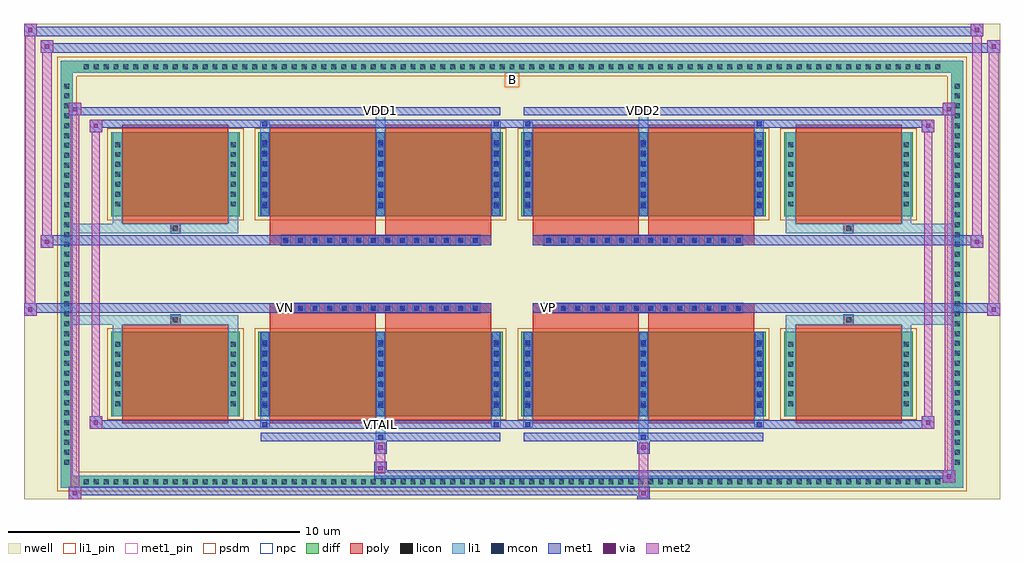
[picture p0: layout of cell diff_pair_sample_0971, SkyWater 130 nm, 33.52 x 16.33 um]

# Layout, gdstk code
import gdstk
lib = gdstk.Library(unit=1e-6, precision=5e-09)
def R(c, l, rs):  # rectangles x0, y0, x1, y1
    for r in rs: c.add(gdstk.rectangle(r[:2], r[2:], *l))
def A(c, l, x, y, w, h, nx, ny, dx, dy):  # array of equal rectangles
    R(c, l, [(x+i*dx, y+j*dy, x+i*dx+w, y+j*dy+h) for i in range(nx) for j in range(ny)])
def P(c, l, *ps):  # polygons
    for p in ps: c.add(gdstk.Polygon(p, *l))
nwell = (64, 20)
diff = (65, 20)
poly = (66, 20)
licon = (66, 44)
li1_pin = (67, 16)
li1 = (67, 20)
mcon = (67, 44)
met1_pin = (68, 16)
met1 = (68, 20)
via = (68, 44)
met2 = (69, 20)
psdm = (94, 20)
npc = (95, 20)

diff_pair_sample_0971 = lib.new_cell('diff_pair_sample_0971')
R(diff_pair_sample_0971, nwell, [(-16.76,-7.73,16.76,8.6), (-14.08,-5.92,-0.01,-0.8), (0.01,-5.92,14.08,-0.8), (-14.08,0.8,-0.01,5.92), (0.01,0.8,14.08,5.92)])
A(diff_pair_sample_0971, diff, -14.825, -7.33, 0.41, 0.41, 87, 2, 0.34, 14.25)
A(diff_pair_sample_0971, diff, -15.49, -6.665, 0.41, 0.41, 1, 39, 0, 0.34)
A(diff_pair_sample_0971, diff, 15.08, -6.665, 0.41, 0.41, 1, 39, 0, 0.34)
R(diff_pair_sample_0971, diff, [(-14.825,-7.33,14.825,-6.92), (-15.49,-6.665,-15.08,6.665), (15.08,-6.665,15.49,6.665), (-13.77,-4.875,-9.35,-1.985), (-8.71,-4.875,-0.32,-1.985), (0.32,-4.875,8.71,-1.985), (9.35,-4.875,13.77,-1.985), (-13.77,1.985,-9.35,4.875), (-8.71,1.985,-0.32,4.875), (0.32,1.985,8.71,4.875), (9.35,1.985,13.77,4.875), (-14.825,6.92,14.825,7.33)])
P(diff_pair_sample_0971, diff, [(15.49,7.33),(-15.49,7.33),(-15.49,-6.92),(-15.08,-6.92),(-15.08,6.92),(15.08,6.92),(15.08,-6.92),(-15.08,-6.92),(-15.49,-6.92),(-15.49,-7.33),(15.49,-7.33)])
A(diff_pair_sample_0971, poly, -7.93, -1.33, 0.33, 0.33, 14, 2, 0.5, 2.33)
A(diff_pair_sample_0971, poly, 1.1, -1.33, 0.33, 0.33, 14, 2, 0.5, 2.33)
R(diff_pair_sample_0971, poly, [(-13.38,-5.125,-9.74,-1.735), (-8.32,-5.125,-4.68,-1.735), (-4.35,-5.125,-0.71,-1.735), (0.71,-5.125,4.35,-1.735), (4.68,-5.125,8.32,-1.735), (9.74,-5.125,13.38,-1.735), (-11.725,-1.735,-11.395,-1.405), (-11.725,-1.735,-11.395,-1.405), (-8.32,-1.735,-4.68,-1.33), (-4.35,-1.735,-0.71,-1.33), (0.71,-1.735,4.35,-1.33), (4.68,-1.735,8.32,-1.33), (11.395,-1.735,11.725,-1.405), (11.395,-1.735,11.725,-1.405), (-8.32,-1.33,-0.71,-1), (0.71,-1.33,8.32,-1), (-8.32,1,-0.71,1.33), (0.71,1,8.32,1.33), (-8.32,1.33,-4.68,1.735), (-4.35,1.33,-0.71,1.735), (0.71,1.33,4.35,1.735), (4.68,1.33,8.32,1.735), (-11.725,1.405,-11.395,1.735), (-11.725,1.405,-11.395,1.735), (11.395,1.405,11.725,1.735), (11.395,1.405,11.725,1.735), (-13.38,1.735,-9.74,5.125), (-8.32,1.735,-4.68,5.125), (-4.35,1.735,-0.71,5.125), (0.71,1.735,4.35,5.125), (4.68,1.735,8.32,5.125), (9.74,1.735,13.38,5.125)])
A(diff_pair_sample_0971, licon, -14.705, -7.21, 0.17, 0.17, 87, 2, 0.34, 14.25)
A(diff_pair_sample_0971, licon, -15.37, -6.545, 0.17, 0.17, 1, 39, 0, 0.34)
A(diff_pair_sample_0971, licon, 15.2, -6.545, 0.17, 0.17, 1, 39, 0, 0.34)
A(diff_pair_sample_0971, licon, -13.63, -4.535, 0.17, 0.17, 1, 7, 0, 0.34)
A(diff_pair_sample_0971, licon, -9.66, -4.535, 0.17, 0.17, 1, 7, 0, 0.34)
A(diff_pair_sample_0971, licon, -8.57, -4.535, 0.17, 0.17, 3, 7, 3.97, 0.34)
A(diff_pair_sample_0971, licon, 0.46, -4.535, 0.17, 0.17, 3, 7, 3.97, 0.34)
A(diff_pair_sample_0971, licon, 9.49, -4.535, 0.17, 0.17, 1, 7, 0, 0.34)
A(diff_pair_sample_0971, licon, 13.46, -4.535, 0.17, 0.17, 1, 7, 0, 0.34)
A(diff_pair_sample_0971, licon, -7.85, -1.25, 0.17, 0.17, 14, 2, 0.5, 2.33)
A(diff_pair_sample_0971, licon, 1.18, -1.25, 0.17, 0.17, 14, 2, 0.5, 2.33)
A(diff_pair_sample_0971, licon, -13.63, 2.325, 0.17, 0.17, 1, 7, 0, 0.34)
A(diff_pair_sample_0971, licon, -9.66, 2.325, 0.17, 0.17, 1, 7, 0, 0.34)
A(diff_pair_sample_0971, licon, -8.57, 2.325, 0.17, 0.17, 3, 7, 3.97, 0.34)
A(diff_pair_sample_0971, licon, 0.46, 2.325, 0.17, 0.17, 3, 7, 3.97, 0.34)
A(diff_pair_sample_0971, licon, 9.49, 2.325, 0.17, 0.17, 1, 7, 0, 0.34)
A(diff_pair_sample_0971, licon, 13.46, 2.325, 0.17, 0.17, 1, 7, 0, 0.34)
R(diff_pair_sample_0971, licon, [(-11.645,-1.655,-11.475,-1.485), (11.475,-1.655,11.645,-1.485), (-11.645,1.485,-11.475,1.655), (11.475,1.485,11.645,1.655)])
R(diff_pair_sample_0971, li1_pin, [(-0.25,6.42,0.25,6.92)])
A(diff_pair_sample_0971, li1, -14.785, -7.29, 0.33, 0.33, 87, 2, 0.34, 14.25)
A(diff_pair_sample_0971, li1, -15.45, -6.625, 0.33, 0.33, 1, 39, 0, 0.34)
A(diff_pair_sample_0971, li1, 15.12, -6.625, 0.33, 0.33, 1, 39, 0, 0.34)
A(diff_pair_sample_0971, li1, -8.65, -4.875, 0.33, 2.89, 3, 2, 3.97, 6.86)
A(diff_pair_sample_0971, li1, 0.38, -4.875, 0.33, 2.89, 3, 2, 3.97, 6.86)
A(diff_pair_sample_0971, li1, -13.71, -4.615, 0.33, 0.33, 1, 7, 0, 0.34)
A(diff_pair_sample_0971, li1, -9.74, -4.615, 0.33, 0.33, 1, 7, 0, 0.34)
A(diff_pair_sample_0971, li1, -8.65, -4.615, 0.33, 0.33, 3, 7, 3.97, 0.34)
A(diff_pair_sample_0971, li1, 0.38, -4.615, 0.33, 0.33, 3, 7, 3.97, 0.34)
A(diff_pair_sample_0971, li1, 9.41, -4.615, 0.33, 0.33, 1, 7, 0, 0.34)
A(diff_pair_sample_0971, li1, 13.38, -4.615, 0.33, 0.33, 1, 7, 0, 0.34)
A(diff_pair_sample_0971, li1, -8.57, -4.595, 0.17, 0.17, 3, 7, 3.97, 0.36)
A(diff_pair_sample_0971, li1, -8.57, -4.595, 0.17, 2.33, 3, 2, 3.97, 6.86)
A(diff_pair_sample_0971, li1, 0.46, -4.595, 0.17, 0.17, 3, 7, 3.97, 0.36)
A(diff_pair_sample_0971, li1, 0.46, -4.595, 0.17, 2.33, 3, 2, 3.97, 6.86)
A(diff_pair_sample_0971, li1, -7.93, -1.33, 0.33, 0.33, 14, 2, 0.5, 2.33)
A(diff_pair_sample_0971, li1, 1.1, -1.33, 0.33, 0.33, 14, 2, 0.5, 2.33)
A(diff_pair_sample_0971, li1, -13.71, 2.245, 0.33, 0.33, 1, 7, 0, 0.34)
A(diff_pair_sample_0971, li1, -9.74, 2.245, 0.33, 0.33, 1, 7, 0, 0.34)
A(diff_pair_sample_0971, li1, -8.65, 2.245, 0.33, 0.33, 3, 7, 3.97, 0.34)
A(diff_pair_sample_0971, li1, 0.38, 2.245, 0.33, 0.33, 3, 7, 3.97, 0.34)
A(diff_pair_sample_0971, li1, 9.41, 2.245, 0.33, 0.33, 1, 7, 0, 0.34)
A(diff_pair_sample_0971, li1, 13.38, 2.245, 0.33, 0.33, 1, 7, 0, 0.34)
A(diff_pair_sample_0971, li1, -8.57, 2.265, 0.17, 0.17, 3, 7, 3.97, 0.36)
A(diff_pair_sample_0971, li1, 0.46, 2.265, 0.17, 0.17, 3, 7, 3.97, 0.36)
R(diff_pair_sample_0971, li1, [(-15.49,-7.33,-15.08,-6.92), (-15.49,-7.33,-15.08,-6.92), (-15.08,-7.33,15.08,-6.92), (15.08,-7.33,15.49,-6.92), (15.08,-7.33,15.49,-6.92), (-15.49,-6.92,-15.08,6.92), (15.08,-6.92,15.49,6.92), (-4.68,-5.68,-4.35,-4.875), (-4.6,-5.68,-4.43,-5.51), (4.35,-5.68,4.68,-4.875), (4.43,-5.68,4.6,-5.51), (-8.65,-5.25,-8.32,-4.875), (-8.57,-5.25,-8.4,-5.08), (-0.71,-5.25,-0.38,-4.875), (-0.63,-5.25,-0.46,-5.08), (0.38,-5.25,0.71,-4.875), (0.46,-5.25,0.63,-5.08), (8.32,-5.25,8.65,-4.875), (8.4,-5.25,8.57,-5.08), (-13.71,-4.875,-13.38,-1.985), (-9.74,-4.875,-9.41,-1.985), (9.41,-4.875,9.74,-1.985), (13.38,-4.875,13.71,-1.985), (-13.71,-1.985,-13.38,-1.405), (-9.74,-1.985,-9.41,-1.405), (9.41,-1.985,9.74,-1.405), (13.38,-1.985,13.71,-1.405), (-15.49,-1.735,-11.725,-1.405), (-13.71,-1.735,-11.725,-1.405), (-11.725,-1.735,-11.395,-1.405), (-11.395,-1.735,-9.41,-1.405), (9.41,-1.735,11.395,-1.405), (11.395,-1.735,11.725,-1.405), (11.395,-1.735,15.49,-1.405), (11.725,-1.735,13.71,-1.405), (-15.49,1.405,-11.725,1.735), (-13.71,1.405,-11.725,1.735), (-13.71,1.405,-13.38,1.985), (-11.725,1.405,-11.395,1.735), (-11.395,1.405,-9.41,1.735), (-9.74,1.405,-9.41,1.985), (9.41,1.405,11.395,1.735), (9.41,1.405,9.74,1.985), (11.395,1.405,11.725,1.735), (11.395,1.405,15.49,1.735), (11.725,1.405,13.71,1.735), (13.38,1.405,13.71,1.985), (-13.71,1.985,-13.38,4.875), (-9.74,1.985,-9.41,4.875), (9.41,1.985,9.74,4.875), (13.38,1.985,13.71,4.875), (-8.65,4.875,-8.32,5.25), (-4.68,4.875,-4.35,5.68), (-0.71,4.875,-0.38,5.25), (0.38,4.875,0.71,5.25), (4.35,4.875,4.68,5.68), (8.32,4.875,8.65,5.25), (-8.57,5.08,-8.4,5.25), (-0.63,5.08,-0.46,5.25), (0.46,5.08,0.63,5.25), (8.4,5.08,8.57,5.25), (-4.6,5.51,-4.43,5.68), (4.43,5.51,4.6,5.68), (-15.49,6.92,-15.08,7.33), (-15.49,6.92,-15.08,7.33), (-15.08,6.92,15.08,7.33), (15.08,6.92,15.49,7.33), (15.08,6.92,15.49,7.33)])
A(diff_pair_sample_0971, mcon, -8.57, -4.595, 0.17, 0.17, 3, 7, 3.97, 0.36)
A(diff_pair_sample_0971, mcon, 0.46, -4.595, 0.17, 0.17, 3, 7, 3.97, 0.36)
A(diff_pair_sample_0971, mcon, -7.85, -1.25, 0.17, 0.17, 14, 2, 0.5, 2.33)
A(diff_pair_sample_0971, mcon, 1.18, -1.25, 0.17, 0.17, 14, 2, 0.5, 2.33)
A(diff_pair_sample_0971, mcon, -8.57, 2.265, 0.17, 0.17, 3, 7, 3.97, 0.36)
A(diff_pair_sample_0971, mcon, 0.46, 2.265, 0.17, 0.17, 3, 7, 3.97, 0.36)
R(diff_pair_sample_0971, mcon, [(-4.6,-5.68,-4.43,-5.51), (4.43,-5.68,4.6,-5.51), (-8.57,-5.25,-8.4,-5.08), (-0.63,-5.25,-0.46,-5.08), (0.46,-5.25,0.63,-5.08), (8.4,-5.25,8.57,-5.08), (-8.57,5.08,-8.4,5.25), (-0.63,5.08,-0.46,5.25), (0.46,5.08,0.63,5.25), (8.4,5.08,8.57,5.25), (-4.6,5.51,-4.43,5.68), (4.43,5.51,4.6,5.68)])
R(diff_pair_sample_0971, met1_pin, [(-4.65,-5.29,-4.38,-5.02), (-7.9,-1.29,-7.63,-1.02), (1.13,-1.29,1.4,-1.02), (-4.65,5.47,-4.38,5.74), (4.38,5.47,4.65,5.74)])
A(diff_pair_sample_0971, met1, -8.63, -4.875, 0.29, 2.89, 3, 2, 3.97, 6.86)
A(diff_pair_sample_0971, met1, 0.4, -4.875, 0.29, 2.89, 3, 2, 3.97, 6.86)
A(diff_pair_sample_0971, met1, -8.63, -4.655, 0.29, 0.29, 3, 7, 3.97, 0.36)
A(diff_pair_sample_0971, met1, 0.4, -4.655, 0.29, 0.29, 3, 7, 3.97, 0.36)
A(diff_pair_sample_0971, met1, -7.91, -1.31, 0.29, 0.29, 14, 2, 0.5, 2.33)
A(diff_pair_sample_0971, met1, 1.12, -1.31, 0.29, 0.29, 14, 2, 0.5, 2.33)
A(diff_pair_sample_0971, met1, -8.63, 2.205, 0.29, 0.29, 3, 7, 3.97, 0.36)
A(diff_pair_sample_0971, met1, 0.4, 2.205, 0.29, 0.29, 3, 7, 3.97, 0.36)
R(diff_pair_sample_0971, met1, [(-15.22,-7.73,-14.79,-7.3), (4.3,-7.73,4.73,-7.3), (-15.22,-7.59,4.73,-7.3), (14.79,-7.16,15.22,-6.73), (-4.73,-7.02,15.22,-6.73), (-4.73,-6.88,-4.3,-6.45), (-4.73,-6.17,-4.3,-5.74), (4.3,-6.17,4.73,-5.74), (-8.63,-5.74,-0.4,-5.45), (-4.66,-5.74,-4.37,-5.45), (0.4,-5.74,8.63,-5.45), (4.37,-5.74,4.66,-5.45), (-14.51,-5.31,-14.08,-4.88), (-14.51,-5.31,-8.63,-5.02), (-8.63,-5.31,-8.34,-5.02), (-8.63,-5.31,-0.4,-5.02), (-0.69,-5.31,-0.4,-5.02), (-0.4,-5.31,0.4,-5.02), (0.4,-5.31,0.69,-5.02), (0.4,-5.31,8.63,-5.02), (8.34,-5.31,8.63,-5.02), (8.63,-5.31,14.51,-5.02), (14.08,-5.31,14.51,-4.88), (-16.76,-1.43,-16.33,-1), (16.33,-1.43,16.76,-1), (-16.76,-1.33,-0.71,-1), (-8.32,-1.33,-0.71,-1), (0.71,-1.33,8.32,-1), (0.71,-1.33,16.76,-1), (-16.19,0.9,-15.76,1.33), (15.76,0.9,16.19,1.33), (-16.19,1,-8.32,1.33), (-8.32,1,-0.71,1.33), (0.71,1,8.32,1.33), (8.32,1,16.19,1.33), (-14.51,4.88,-14.08,5.31), (14.08,4.88,14.51,5.31), (-14.51,5.02,-8.63,5.31), (-8.63,5.02,-8.34,5.31), (-8.63,5.02,-0.4,5.31), (-0.69,5.02,-0.4,5.31), (-0.4,5.02,0.4,5.31), (0.4,5.02,0.69,5.31), (0.4,5.02,8.63,5.31), (8.34,5.02,8.63,5.31), (8.63,5.02,14.51,5.31), (-15.22,5.45,-14.79,5.88), (-15.22,5.45,-8.63,5.74), (-8.63,5.45,-0.4,5.74), (-4.66,5.45,-4.37,5.74), (0.4,5.45,8.63,5.74), (4.37,5.45,4.66,5.74), (8.63,5.45,15.22,5.74), (14.79,5.45,15.22,5.88), (-16.19,7.6,-15.76,8.03), (-16.19,7.6,-14.08,7.93), (-14.08,7.6,14.08,7.93), (14.08,7.6,16.76,7.93), (16.33,7.6,16.76,8.03), (-16.76,8.17,-16.33,8.6), (-16.76,8.17,-14.08,8.5), (-14.08,8.17,14.08,8.5), (14.08,8.17,16.19,8.5), (15.76,8.17,16.19,8.6)])
R(diff_pair_sample_0971, via, [(-15.08,-7.59,-14.93,-7.44), (4.44,-7.59,4.59,-7.44), (14.93,-7.02,15.08,-6.87), (-4.59,-6.74,-4.44,-6.59), (-4.59,-6.03,-4.44,-5.88), (4.44,-6.03,4.59,-5.88), (-14.37,-5.17,-14.22,-5.02), (14.22,-5.17,14.37,-5.02), (-16.62,-1.29,-16.47,-1.14), (16.47,-1.29,16.62,-1.14), (-16.05,1.04,-15.9,1.19), (15.9,1.04,16.05,1.19), (-14.37,5.02,-14.22,5.17), (14.22,5.02,14.37,5.17), (-15.08,5.59,-14.93,5.74), (14.93,5.59,15.08,5.74), (-16.05,7.74,-15.9,7.89), (16.47,7.74,16.62,7.89), (-16.62,8.31,-16.47,8.46), (15.9,8.31,16.05,8.46)])
R(diff_pair_sample_0971, met2, [(-15.22,-7.73,-14.79,-7.3), (-15.15,-7.73,-14.86,5.88), (-14.86,-7.73,-14.79,-7.3), (-15.17,-7.68,-14.84,-7.35), (4.35,-7.68,4.68,-7.35), (4.35,-7.35,4.68,-6.12), (14.79,-7.16,15.22,-6.73), (14.86,-7.16,15.15,5.88), (15.15,-7.16,15.22,-6.73), (14.84,-7.11,15.17,-6.78), (-4.68,-6.83,-4.35,-6.5), (-4.68,-6.5,-4.35,-6.12), (-4.68,-6.12,-4.35,-5.79), (4.35,-6.12,4.68,-5.79), (-14.51,-5.31,-14.08,-4.88), (-14.44,-5.31,-14.15,5.31), (-14.15,-5.31,-14.08,-4.88), (14.08,-5.31,14.51,-4.88), (14.15,-5.31,14.44,5.31), (14.44,-5.31,14.51,-4.88), (-14.46,-5.26,-14.13,-4.93), (14.13,-5.26,14.46,-4.93), (-16.76,-1.43,-16.33,-1), (-16.71,-1.43,-16.38,8.6), (-16.38,-1.43,-16.33,-1), (16.33,-1.43,16.76,-1), (16.38,-1.43,16.71,8.03), (16.71,-1.43,16.76,-1), (-16.71,-1.38,-16.38,-1.05), (16.38,-1.38,16.71,-1.05), (-16.19,0.9,-15.76,1.33), (-16.14,0.9,-15.81,8.03), (-15.81,0.9,-15.76,1.33), (15.76,0.9,16.19,1.33), (15.81,0.9,16.14,8.6), (16.14,0.9,16.19,1.33), (-16.14,0.95,-15.81,1.28), (15.81,0.95,16.14,1.28), (-14.51,4.88,-14.08,5.31), (-14.15,4.88,-14.08,5.31), (14.08,4.88,14.51,5.31), (14.44,4.88,14.51,5.31), (-14.46,4.93,-14.13,5.26), (14.13,4.93,14.46,5.26), (-15.22,5.45,-14.79,5.88), (-14.86,5.45,-14.79,5.88), (14.79,5.45,15.22,5.88), (15.15,5.45,15.22,5.88), (-15.17,5.5,-14.84,5.83), (14.84,5.5,15.17,5.83), (-16.19,7.6,-15.76,8.03), (-15.81,7.6,-15.76,8.03), (16.33,7.6,16.76,8.03), (16.71,7.6,16.76,8.03), (-16.14,7.65,-15.81,7.98), (16.38,7.65,16.71,7.98), (-16.76,8.17,-16.33,8.6), (-16.38,8.17,-16.33,8.6), (15.76,8.17,16.19,8.6), (16.14,8.17,16.19,8.6), (-16.71,8.22,-16.38,8.55), (15.81,8.22,16.14,8.55)])
R(diff_pair_sample_0971, psdm, [(-13.9,-5.005,-9.22,-1.855), (-8.84,-5.005,-0.19,-1.855), (0.19,-5.005,8.84,-1.855), (9.22,-5.005,13.9,-1.855), (-13.9,1.855,-9.22,5.005), (-8.84,1.855,-0.19,5.005), (0.19,1.855,8.84,5.005), (9.22,1.855,13.9,5.005)])
P(diff_pair_sample_0971, psdm, [(15.62,7.46),(-15.62,7.46),(-15.62,-6.79),(-14.95,-6.79),(-14.95,6.79),(14.95,6.79),(14.95,-6.79),(-14.95,-6.79),(-15.62,-6.79),(-15.62,-7.46),(15.62,-7.46)])
A(diff_pair_sample_0971, npc, -7.95, -1.35, 0.37, 0.37, 14, 2, 0.5, 2.33)
A(diff_pair_sample_0971, npc, 1.08, -1.35, 0.37, 0.37, 14, 2, 0.5, 2.33)
R(diff_pair_sample_0971, npc, [(-11.745,-1.755,-11.375,-1.385), (11.375,-1.755,11.745,-1.385), (-7.95,-1.35,-7.08,-0.98), (-7.95,-1.35,-7.08,-0.98), (-7.45,-1.35,-6.58,-0.98), (-7.45,-1.35,-6.58,-0.98), (-6.95,-1.35,-6.08,-0.98), (-6.95,-1.35,-6.08,-0.98), (-6.45,-1.35,-5.58,-0.98), (-6.45,-1.35,-5.58,-0.98), (-5.95,-1.35,-5.08,-0.98), (-5.95,-1.35,-5.08,-0.98), (-5.45,-1.35,-4.58,-0.98), (-5.45,-1.35,-4.58,-0.98), (-4.95,-1.35,-4.08,-0.98), (-4.95,-1.35,-4.08,-0.98), (-4.45,-1.35,-3.58,-0.98), (-4.45,-1.35,-3.58,-0.98), (-3.95,-1.35,-3.08,-0.98), (-3.95,-1.35,-3.08,-0.98), (-3.45,-1.35,-2.58,-0.98), (-3.45,-1.35,-2.58,-0.98), (-2.95,-1.35,-2.08,-0.98), (-2.95,-1.35,-2.08,-0.98), (-2.45,-1.35,-1.58,-0.98), (-2.45,-1.35,-1.58,-0.98), (-1.95,-1.35,-1.08,-0.98), (-1.95,-1.35,-1.08,-0.98), (1.08,-1.35,1.95,-0.98), (1.08,-1.35,1.95,-0.98), (1.58,-1.35,2.45,-0.98), (1.58,-1.35,2.45,-0.98), (2.08,-1.35,2.95,-0.98), (2.08,-1.35,2.95,-0.98), (2.58,-1.35,3.45,-0.98), (2.58,-1.35,3.45,-0.98), (3.08,-1.35,3.95,-0.98), (3.08,-1.35,3.95,-0.98), (3.58,-1.35,4.45,-0.98), (3.58,-1.35,4.45,-0.98), (4.08,-1.35,4.95,-0.98), (4.08,-1.35,4.95,-0.98), (4.58,-1.35,5.45,-0.98), (4.58,-1.35,5.45,-0.98), (5.08,-1.35,5.95,-0.98), (5.08,-1.35,5.95,-0.98), (5.58,-1.35,6.45,-0.98), (5.58,-1.35,6.45,-0.98), (6.08,-1.35,6.95,-0.98), (6.08,-1.35,6.95,-0.98), (6.58,-1.35,7.45,-0.98), (6.58,-1.35,7.45,-0.98), (7.08,-1.35,7.95,-0.98), (7.08,-1.35,7.95,-0.98), (-7.95,0.98,-7.08,1.35), (-7.95,0.98,-7.08,1.35), (-7.45,0.98,-6.58,1.35), (-7.45,0.98,-6.58,1.35), (-6.95,0.98,-6.08,1.35), (-6.95,0.98,-6.08,1.35), (-6.45,0.98,-5.58,1.35), (-6.45,0.98,-5.58,1.35), (-5.95,0.98,-5.08,1.35), (-5.95,0.98,-5.08,1.35), (-5.45,0.98,-4.58,1.35), (-5.45,0.98,-4.58,1.35), (-4.95,0.98,-4.08,1.35), (-4.95,0.98,-4.08,1.35), (-4.45,0.98,-3.58,1.35), (-4.45,0.98,-3.58,1.35), (-3.95,0.98,-3.08,1.35), (-3.95,0.98,-3.08,1.35), (-3.45,0.98,-2.58,1.35), (-3.45,0.98,-2.58,1.35), (-2.95,0.98,-2.08,1.35), (-2.95,0.98,-2.08,1.35), (-2.45,0.98,-1.58,1.35), (-2.45,0.98,-1.58,1.35), (-1.95,0.98,-1.08,1.35), (-1.95,0.98,-1.08,1.35), (1.08,0.98,1.95,1.35), (1.08,0.98,1.95,1.35), (1.58,0.98,2.45,1.35), (1.58,0.98,2.45,1.35), (2.08,0.98,2.95,1.35), (2.08,0.98,2.95,1.35), (2.58,0.98,3.45,1.35), (2.58,0.98,3.45,1.35), (3.08,0.98,3.95,1.35), (3.08,0.98,3.95,1.35), (3.58,0.98,4.45,1.35), (3.58,0.98,4.45,1.35), (4.08,0.98,4.95,1.35), (4.08,0.98,4.95,1.35), (4.58,0.98,5.45,1.35), (4.58,0.98,5.45,1.35), (5.08,0.98,5.95,1.35), (5.08,0.98,5.95,1.35), (5.58,0.98,6.45,1.35), (5.58,0.98,6.45,1.35), (6.08,0.98,6.95,1.35), (6.08,0.98,6.95,1.35), (6.58,0.98,7.45,1.35), (6.58,0.98,7.45,1.35), (7.08,0.98,7.95,1.35), (7.08,0.98,7.95,1.35), (-11.745,1.385,-11.375,1.755), (11.375,1.385,11.745,1.755)])
diff_pair_sample_0971.add(gdstk.Label('VTAIL', (-4.515,-5.155), layer=68, texttype=5))
diff_pair_sample_0971.add(gdstk.Label('VN', (-7.765,-1.155), layer=68, texttype=5))
diff_pair_sample_0971.add(gdstk.Label('VP', (1.265,-1.155), layer=68, texttype=5))
diff_pair_sample_0971.add(gdstk.Label('B', (0,6.67), layer=67, texttype=5))
diff_pair_sample_0971.add(gdstk.Label('VDD2', (4.515,5.605), layer=68, texttype=5))
diff_pair_sample_0971.add(gdstk.Label('VDD1', (-4.515,5.605), layer=68, texttype=5))

lib.write_gds('diff_pair_sample_0971.gds')
